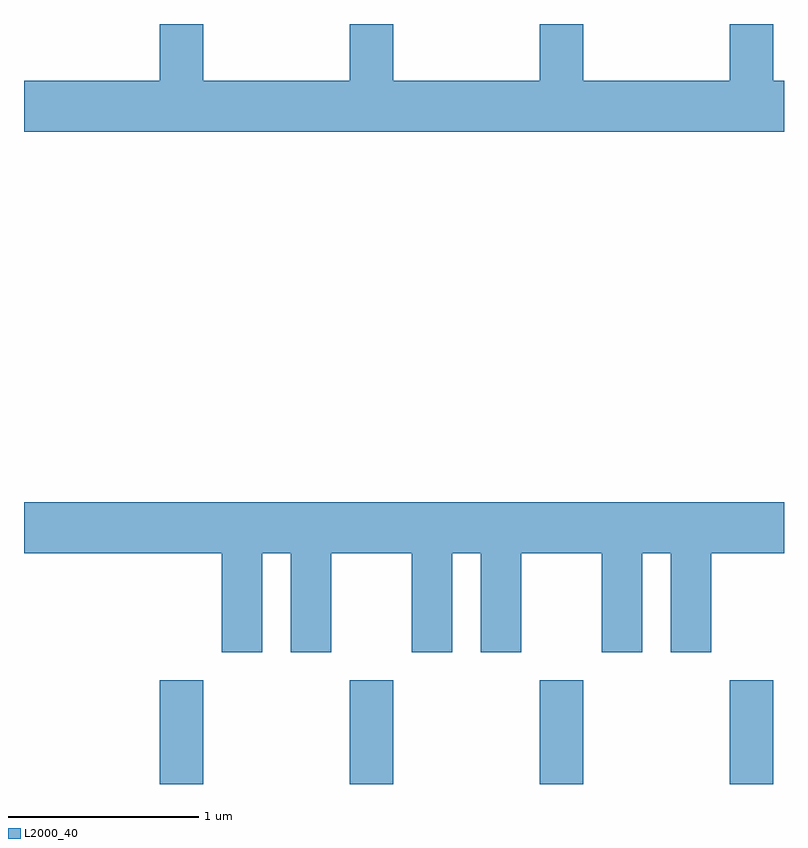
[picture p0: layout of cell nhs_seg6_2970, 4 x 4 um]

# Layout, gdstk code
import gdstk
lib = gdstk.Library(unit=1e-6, precision=1e-09)
def R(c, l, rs):  # rectangles x0, y0, x1, y1
    for r in rs: c.add(gdstk.rectangle(r[:2], r[2:], *l))
def A(c, l, x, y, w, h, nx, ny, dx, dy):  # array of equal rectangles
    R(c, l, [(x+i*dx, y+j*dy, x+i*dx+w, y+j*dy+h) for i in range(nx) for j in range(ny)])
def P(c, l, *ps):  # polygons
    for p in ps: c.add(gdstk.Polygon(p, *l))
L2000_40 = (2000, 40)

nhs_seg6_2970 = lib.new_cell('nhs_seg6_2970')
A(nhs_seg6_2970, L2000_40, 276.326, 1542.162, 0.228, 0.547, 4, 1, 1, 0)
P(nhs_seg6_2970, L2000_40, [(279.611,1545.864),(279.554,1545.864),(279.554,1546.162),(279.326,1546.162),(279.326,1545.864),(278.554,1545.864),(278.554,1546.162),(278.326,1546.162),(278.326,1545.864),(277.554,1545.864),(277.554,1546.162),(277.326,1546.162),(277.326,1545.864),(276.554,1545.864),(276.554,1546.162),(276.326,1546.162),(276.326,1545.864),(275.611,1545.864),(275.611,1545.596),(279.611,1545.596)],
  [(276.864,1543.376),(277.016,1543.376),(277.016,1542.856),(277.229,1542.856),(277.229,1543.376),(277.651,1543.376),(277.651,1542.856),(277.864,1542.856),(277.864,1543.376),(278.016,1543.376),(278.016,1542.856),(278.229,1542.856),(278.229,1543.376),(278.651,1543.376),(278.651,1542.856),(278.864,1542.856),(278.864,1543.376),(279.016,1543.376),(279.016,1542.856),(279.229,1542.856),(279.229,1543.376),(279.611,1543.376),(279.611,1543.644),(275.611,1543.644),(275.611,1543.376),(276.651,1543.376),(276.651,1542.856),(276.864,1542.856)])

lib.write_gds('nhs_seg6_2970.gds')
